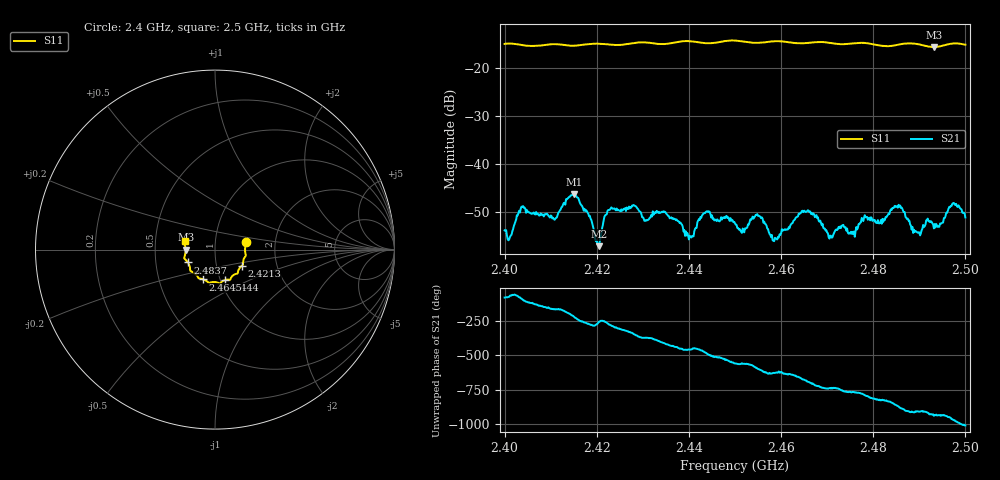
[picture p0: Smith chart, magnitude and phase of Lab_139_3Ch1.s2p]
# Hz S RI R 50
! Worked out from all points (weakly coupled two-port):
!   601 points, 2.4 GHz to 2.5 GHz, reference 50 ohm
!   highest |S21| = -46.25 dB at 2.415 GHz (marker M1); lowest = -57.1 dB at 2.4205 GHz (marker M2)
!   lowest |S11| = -15.7 dB at 2.4932 GHz (marker M3), VSWR 1.39, Z = 35.9 - j0.0476 ohm
!   |S11| at or under -10 dB: start of sweep to end of sweep
!   S12 and S22 are empty: the file has one direction only
!   S11 on the Smith chart (normalised r, x): 2.4 GHz: 1.41, +0.12; 2.4213 GHz: 1.33, -0.25; 2.444 GHz: 1.06, -0.37; 2.4645 GHz: 0.83, -0.29; 2.4837 GHz: 0.73, -0.11; 2.5 GHz: 0.71, +0.07
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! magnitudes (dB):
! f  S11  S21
! 2.4 GHz  -15.1  -53.8
! 2.404 GHz  -15.4  -48.7
! 2.4108 GHz  -15.1  -51.6
! 2.415 GHz  -15.5  -46.2
! 2.4167 GHz  -15.3  -48.6
! 2.4205 GHz  -15.1  -57.1
! 2.4213 GHz  -15.1  -52.6
! 2.4233 GHz  -15.3  -49.2
! 2.4333 GHz  -15.1  -50.1
! 2.4405 GHz  -14.5  -55.3
! 2.444 GHz  -15.0  -49.8
! 2.45 GHz  -14.4  -52.3
! 2.455 GHz  -14.9  -50.8
! 2.4587 GHz  -14.5  -55.3
! 2.4645 GHz  -15.0  -49.8
! 2.4667 GHz  -14.8  -50.2
! 2.4708 GHz  -14.9  -54.9
! 2.4833 GHz  -15.6  -50.3
! 2.4837 GHz  -15.5  -49.7
! 2.4932 GHz  -15.7  -53.4
! 2.4975 GHz  -15.0  -48.1
! 2.5 GHz  -15.2  -51.1
